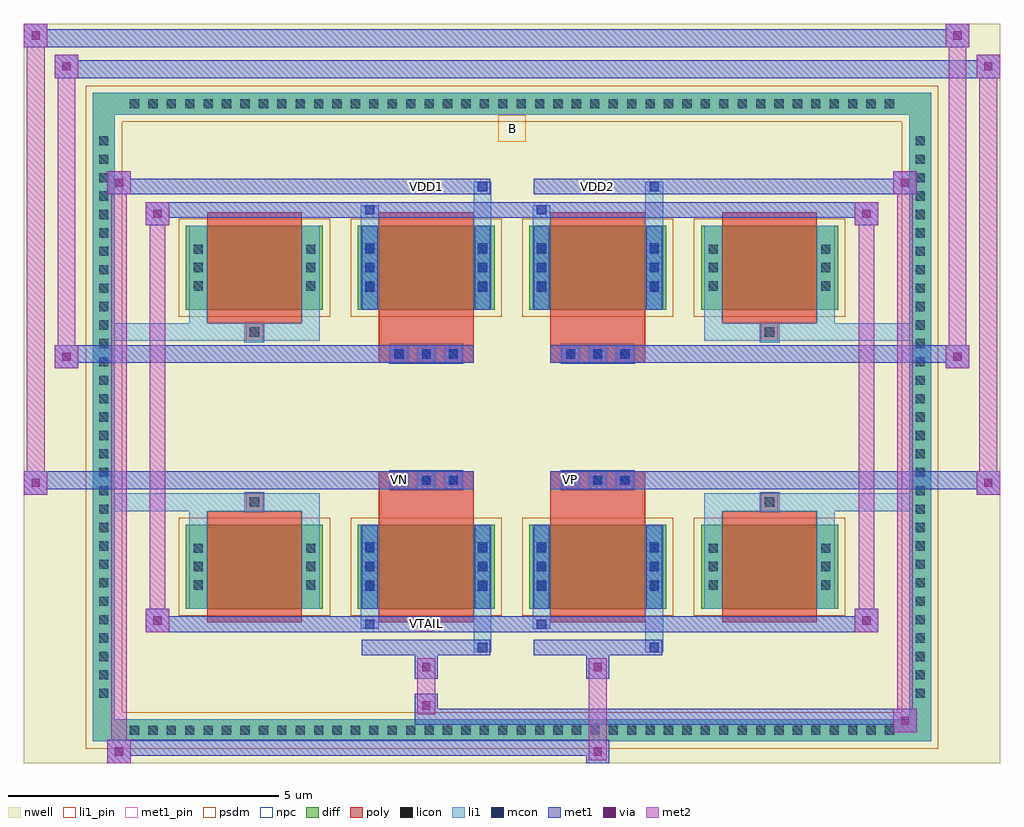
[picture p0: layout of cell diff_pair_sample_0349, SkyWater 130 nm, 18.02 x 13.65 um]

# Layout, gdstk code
import gdstk
lib = gdstk.Library(unit=1e-6, precision=5e-09)
def R(c, l, rs):  # rectangles x0, y0, x1, y1
    for r in rs: c.add(gdstk.rectangle(r[:2], r[2:], *l))
def A(c, l, x, y, w, h, nx, ny, dx, dy):  # array of equal rectangles
    R(c, l, [(x+i*dx, y+j*dy, x+i*dx+w, y+j*dy+h) for i in range(nx) for j in range(ny)])
def P(c, l, *ps):  # polygons
    for p in ps: c.add(gdstk.Polygon(p, *l))
nwell = (64, 20)
diff = (65, 20)
poly = (66, 20)
licon = (66, 44)
li1_pin = (67, 16)
li1 = (67, 20)
mcon = (67, 44)
met1_pin = (68, 16)
met1 = (68, 20)
via = (68, 44)
met2 = (69, 20)
psdm = (94, 20)
npc = (95, 20)

diff_pair_sample_0349 = lib.new_cell('diff_pair_sample_0349')
R(diff_pair_sample_0349, nwell, [(-9.01,-6.39,9.01,7.26), (-6.33,-4.58,-0.01,-0.8), (0.01,-4.58,6.33,-0.8), (-6.33,0.8,-0.01,4.58), (0.01,0.8,6.33,4.58)])
A(diff_pair_sample_0349, diff, -7.175, -5.99, 0.41, 0.41, 42, 2, 0.34, 11.57)
A(diff_pair_sample_0349, diff, -7.74, -5.305, 0.41, 0.41, 1, 31, 0, 0.34)
A(diff_pair_sample_0349, diff, 7.33, -5.305, 0.41, 0.41, 1, 31, 0, 0.34)
A(diff_pair_sample_0349, diff, -6.02, -3.535, 2.53, 1.55, 4, 2, 3.17, 5.52)
R(diff_pair_sample_0349, diff, [(-7.175,-5.99,7.175,-5.58), (-7.74,-5.305,-7.33,5.305), (7.33,-5.305,7.74,5.305), (-7.175,5.58,7.175,5.99)])
P(diff_pair_sample_0349, diff, [(7.74,5.99),(-7.74,5.99),(-7.74,-5.58),(-7.33,-5.58),(-7.33,5.58),(7.33,5.58),(7.33,-5.58),(-7.33,-5.58),(-7.74,-5.58),(-7.74,-5.99),(7.74,-5.99)])
A(diff_pair_sample_0349, poly, -5.63, -3.785, 1.75, 2.05, 4, 2, 3.17, 5.52)
A(diff_pair_sample_0349, poly, -2.25, -1.33, 0.33, 0.33, 3, 2, 0.5, 2.33)
A(diff_pair_sample_0349, poly, 0.92, -1.33, 0.33, 0.33, 3, 2, 0.5, 2.33)
R(diff_pair_sample_0349, poly, [(-4.92,-1.735,-4.59,-1.405), (-4.92,-1.735,-4.59,-1.405), (-2.46,-1.735,-0.71,-1.33), (0.71,-1.735,2.46,-1.33), (4.59,-1.735,4.92,-1.405), (4.59,-1.735,4.92,-1.405), (-2.46,-1.33,-0.71,-1), (0.71,-1.33,2.46,-1), (-2.46,1,-0.71,1.33), (0.71,1,2.46,1.33), (-2.46,1.33,-0.71,1.735), (0.71,1.33,2.46,1.735), (-4.92,1.405,-4.59,1.735), (-4.92,1.405,-4.59,1.735), (4.59,1.405,4.92,1.735), (4.59,1.405,4.92,1.735)])
A(diff_pair_sample_0349, licon, -7.055, -5.87, 0.17, 0.17, 42, 2, 0.34, 11.57)
A(diff_pair_sample_0349, licon, -7.62, -5.185, 0.17, 0.17, 1, 31, 0, 0.34)
A(diff_pair_sample_0349, licon, 7.45, -5.185, 0.17, 0.17, 1, 31, 0, 0.34)
A(diff_pair_sample_0349, licon, -5.88, -3.185, 0.17, 0.17, 1, 3, 0, 0.34)
A(diff_pair_sample_0349, licon, -3.8, -3.185, 0.17, 0.17, 1, 3, 0, 0.34)
A(diff_pair_sample_0349, licon, -2.71, -3.185, 0.17, 0.17, 1, 3, 0, 0.34)
A(diff_pair_sample_0349, licon, -0.63, -3.185, 0.17, 0.17, 1, 3, 0, 0.34)
A(diff_pair_sample_0349, licon, 0.46, -3.185, 0.17, 0.17, 1, 3, 0, 0.34)
A(diff_pair_sample_0349, licon, 2.54, -3.185, 0.17, 0.17, 1, 3, 0, 0.34)
A(diff_pair_sample_0349, licon, 3.63, -3.185, 0.17, 0.17, 1, 3, 0, 0.34)
A(diff_pair_sample_0349, licon, 5.71, -3.185, 0.17, 0.17, 1, 3, 0, 0.34)
A(diff_pair_sample_0349, licon, -2.17, -1.25, 0.17, 0.17, 3, 2, 0.5, 2.33)
A(diff_pair_sample_0349, licon, 1, -1.25, 0.17, 0.17, 3, 2, 0.5, 2.33)
A(diff_pair_sample_0349, licon, -5.88, 2.335, 0.17, 0.17, 1, 3, 0, 0.34)
A(diff_pair_sample_0349, licon, -3.8, 2.335, 0.17, 0.17, 1, 3, 0, 0.34)
A(diff_pair_sample_0349, licon, -2.71, 2.335, 0.17, 0.17, 1, 3, 0, 0.34)
A(diff_pair_sample_0349, licon, -0.63, 2.335, 0.17, 0.17, 1, 3, 0, 0.34)
A(diff_pair_sample_0349, licon, 0.46, 2.335, 0.17, 0.17, 1, 3, 0, 0.34)
A(diff_pair_sample_0349, licon, 2.54, 2.335, 0.17, 0.17, 1, 3, 0, 0.34)
A(diff_pair_sample_0349, licon, 3.63, 2.335, 0.17, 0.17, 1, 3, 0, 0.34)
A(diff_pair_sample_0349, licon, 5.71, 2.335, 0.17, 0.17, 1, 3, 0, 0.34)
R(diff_pair_sample_0349, licon, [(-4.84,-1.655,-4.67,-1.485), (4.67,-1.655,4.84,-1.485), (-4.84,1.485,-4.67,1.655), (4.67,1.485,4.84,1.655)])
R(diff_pair_sample_0349, li1_pin, [(-0.25,5.08,0.25,5.58)])
A(diff_pair_sample_0349, li1, -7.135, -5.95, 0.33, 0.33, 42, 2, 0.34, 11.57)
A(diff_pair_sample_0349, li1, -7.7, -5.265, 0.33, 0.33, 1, 31, 0, 0.34)
A(diff_pair_sample_0349, li1, 7.37, -5.265, 0.33, 0.33, 1, 31, 0, 0.34)
A(diff_pair_sample_0349, li1, -5.96, -3.265, 0.33, 0.33, 1, 3, 0, 0.34)
A(diff_pair_sample_0349, li1, -3.88, -3.265, 0.33, 0.33, 1, 3, 0, 0.34)
A(diff_pair_sample_0349, li1, -2.79, -3.265, 0.33, 0.33, 1, 3, 0, 0.34)
A(diff_pair_sample_0349, li1, -0.71, -3.265, 0.33, 0.33, 1, 3, 0, 0.34)
A(diff_pair_sample_0349, li1, 0.38, -3.265, 0.33, 0.33, 1, 3, 0, 0.34)
A(diff_pair_sample_0349, li1, 2.46, -3.265, 0.33, 0.33, 1, 3, 0, 0.34)
A(diff_pair_sample_0349, li1, 3.55, -3.265, 0.33, 0.33, 1, 3, 0, 0.34)
A(diff_pair_sample_0349, li1, 5.63, -3.265, 0.33, 0.33, 1, 3, 0, 0.34)
A(diff_pair_sample_0349, li1, -2.71, -3.205, 0.17, 0.17, 1, 3, 0, 0.36)
A(diff_pair_sample_0349, li1, -0.63, -3.205, 0.17, 0.17, 1, 3, 0, 0.36)
A(diff_pair_sample_0349, li1, 0.46, -3.205, 0.17, 0.17, 1, 3, 0, 0.36)
A(diff_pair_sample_0349, li1, 2.54, -3.205, 0.17, 0.17, 1, 3, 0, 0.36)
A(diff_pair_sample_0349, li1, -2.25, -1.33, 0.33, 0.33, 3, 2, 0.5, 2.33)
A(diff_pair_sample_0349, li1, 0.92, -1.33, 0.33, 0.33, 3, 2, 0.5, 2.33)
A(diff_pair_sample_0349, li1, -5.96, 2.255, 0.33, 0.33, 1, 3, 0, 0.34)
A(diff_pair_sample_0349, li1, -3.88, 2.255, 0.33, 0.33, 1, 3, 0, 0.34)
A(diff_pair_sample_0349, li1, -2.79, 2.255, 0.33, 0.33, 1, 3, 0, 0.34)
A(diff_pair_sample_0349, li1, -0.71, 2.255, 0.33, 0.33, 1, 3, 0, 0.34)
A(diff_pair_sample_0349, li1, 0.38, 2.255, 0.33, 0.33, 1, 3, 0, 0.34)
A(diff_pair_sample_0349, li1, 2.46, 2.255, 0.33, 0.33, 1, 3, 0, 0.34)
A(diff_pair_sample_0349, li1, 3.55, 2.255, 0.33, 0.33, 1, 3, 0, 0.34)
A(diff_pair_sample_0349, li1, 5.63, 2.255, 0.33, 0.33, 1, 3, 0, 0.34)
A(diff_pair_sample_0349, li1, -2.71, 2.315, 0.17, 0.17, 1, 3, 0, 0.36)
A(diff_pair_sample_0349, li1, -0.63, 2.315, 0.17, 0.17, 1, 3, 0, 0.36)
A(diff_pair_sample_0349, li1, 0.46, 2.315, 0.17, 0.17, 1, 3, 0, 0.36)
A(diff_pair_sample_0349, li1, 2.54, 2.315, 0.17, 0.17, 1, 3, 0, 0.36)
R(diff_pair_sample_0349, li1, [(-7.74,-5.99,-7.33,-5.58), (-7.74,-5.99,-7.33,-5.58), (-7.33,-5.99,7.33,-5.58), (7.33,-5.99,7.74,-5.58), (7.33,-5.99,7.74,-5.58), (-7.74,-5.58,-7.33,5.58), (7.33,-5.58,7.74,5.58), (-0.71,-4.34,-0.38,-3.535), (-0.63,-4.34,-0.46,-4.17), (2.46,-4.34,2.79,-3.535), (2.54,-4.34,2.71,-4.17), (-2.79,-3.91,-2.46,-3.535), (-2.71,-3.91,-2.54,-3.74), (0.38,-3.91,0.71,-3.535), (0.46,-3.91,0.63,-3.74), (-5.96,-3.535,-5.63,-1.985), (-3.88,-3.535,-3.55,-1.985), (-2.79,-3.535,-2.46,-1.985), (-0.71,-3.535,-0.38,-1.985), (0.38,-3.535,0.71,-1.985), (2.46,-3.535,2.79,-1.985), (3.55,-3.535,3.88,-1.985), (5.63,-3.535,5.96,-1.985), (-2.71,-3.205,-2.54,-2.315), (-0.63,-3.205,-0.46,-2.315), (0.46,-3.205,0.63,-2.315), (2.54,-3.205,2.71,-2.315), (-5.96,-1.985,-5.63,-1.405), (-3.88,-1.985,-3.55,-1.405), (3.55,-1.985,3.88,-1.405), (5.63,-1.985,5.96,-1.405), (-7.74,-1.735,-4.92,-1.405), (-5.96,-1.735,-4.92,-1.405), (-4.92,-1.735,-4.59,-1.405), (-4.59,-1.735,-3.55,-1.405), (3.55,-1.735,4.59,-1.405), (4.59,-1.735,4.92,-1.405), (4.59,-1.735,7.74,-1.405), (4.92,-1.735,5.96,-1.405), (-7.74,1.405,-4.92,1.735), (-5.96,1.405,-4.92,1.735), (-5.96,1.405,-5.63,1.985), (-4.92,1.405,-4.59,1.735), (-4.59,1.405,-3.55,1.735), (-3.88,1.405,-3.55,1.985), (3.55,1.405,4.59,1.735), (3.55,1.405,3.88,1.985), (4.59,1.405,4.92,1.735), (4.59,1.405,7.74,1.735), (4.92,1.405,5.96,1.735), (5.63,1.405,5.96,1.985), (-5.96,1.985,-5.63,3.535), (-3.88,1.985,-3.55,3.535), (-2.79,1.985,-2.46,3.535), (-0.71,1.985,-0.38,3.535), (0.38,1.985,0.71,3.535), (2.46,1.985,2.79,3.535), (3.55,1.985,3.88,3.535), (5.63,1.985,5.96,3.535), (-2.71,2.315,-2.54,3.205), (-0.63,2.315,-0.46,3.205), (0.46,2.315,0.63,3.205), (2.54,2.315,2.71,3.205), (-2.79,3.535,-2.46,3.91), (-0.71,3.535,-0.38,4.34), (0.38,3.535,0.71,3.91), (2.46,3.535,2.79,4.34), (-2.71,3.74,-2.54,3.91), (0.46,3.74,0.63,3.91), (-0.63,4.17,-0.46,4.34), (2.54,4.17,2.71,4.34), (-7.74,5.58,-7.33,5.99), (-7.74,5.58,-7.33,5.99), (-7.33,5.58,7.33,5.99), (7.33,5.58,7.74,5.99), (7.33,5.58,7.74,5.99)])
A(diff_pair_sample_0349, mcon, -2.71, -3.205, 0.17, 0.17, 1, 3, 0, 0.36)
A(diff_pair_sample_0349, mcon, -0.63, -3.205, 0.17, 0.17, 1, 3, 0, 0.36)
A(diff_pair_sample_0349, mcon, 0.46, -3.205, 0.17, 0.17, 1, 3, 0, 0.36)
A(diff_pair_sample_0349, mcon, 2.54, -3.205, 0.17, 0.17, 1, 3, 0, 0.36)
A(diff_pair_sample_0349, mcon, -2.17, -1.25, 0.17, 0.17, 3, 2, 0.5, 2.33)
A(diff_pair_sample_0349, mcon, 1, -1.25, 0.17, 0.17, 3, 2, 0.5, 2.33)
A(diff_pair_sample_0349, mcon, -2.71, 2.315, 0.17, 0.17, 1, 3, 0, 0.36)
A(diff_pair_sample_0349, mcon, -0.63, 2.315, 0.17, 0.17, 1, 3, 0, 0.36)
A(diff_pair_sample_0349, mcon, 0.46, 2.315, 0.17, 0.17, 1, 3, 0, 0.36)
A(diff_pair_sample_0349, mcon, 2.54, 2.315, 0.17, 0.17, 1, 3, 0, 0.36)
R(diff_pair_sample_0349, mcon, [(-0.63,-4.34,-0.46,-4.17), (2.54,-4.34,2.71,-4.17), (-2.71,-3.91,-2.54,-3.74), (0.46,-3.91,0.63,-3.74), (-2.71,3.74,-2.54,3.91), (0.46,3.74,0.63,3.91), (-0.63,4.17,-0.46,4.34), (2.54,4.17,2.71,4.34)])
R(diff_pair_sample_0349, met1_pin, [(-1.72,-3.95,-1.45,-3.68), (-2.22,-1.29,-1.95,-1.02), (0.95,-1.29,1.22,-1.02), (-1.72,4.13,-1.45,4.4), (1.45,4.13,1.72,4.4)])
A(diff_pair_sample_0349, met1, -2.77, -3.265, 0.29, 0.29, 1, 3, 0, 0.36)
A(diff_pair_sample_0349, met1, -0.69, -3.265, 0.29, 0.29, 1, 3, 0, 0.36)
A(diff_pair_sample_0349, met1, 0.4, -3.265, 0.29, 0.29, 1, 3, 0, 0.36)
A(diff_pair_sample_0349, met1, 2.48, -3.265, 0.29, 0.29, 1, 3, 0, 0.36)
A(diff_pair_sample_0349, met1, -2.23, -1.31, 0.29, 0.29, 3, 2, 0.5, 2.33)
A(diff_pair_sample_0349, met1, 0.94, -1.31, 0.29, 0.29, 3, 2, 0.5, 2.33)
A(diff_pair_sample_0349, met1, -2.77, 2.255, 0.29, 0.29, 1, 3, 0, 0.36)
A(diff_pair_sample_0349, met1, -0.69, 2.255, 0.29, 0.29, 1, 3, 0, 0.36)
A(diff_pair_sample_0349, met1, 0.4, 2.255, 0.29, 0.29, 1, 3, 0, 0.36)
A(diff_pair_sample_0349, met1, 2.48, 2.255, 0.29, 0.29, 1, 3, 0, 0.36)
R(diff_pair_sample_0349, met1, [(-7.47,-6.39,-7.04,-5.96), (1.37,-6.39,1.8,-5.96), (-7.47,-6.25,1.8,-5.96), (7.04,-5.82,7.47,-5.39), (-1.8,-5.68,7.47,-5.39), (-1.8,-5.54,-1.37,-5.11), (-1.8,-4.83,-1.37,-4.4), (1.37,-4.83,1.8,-4.4), (-2.77,-4.4,-0.4,-4.11), (-0.69,-4.4,-0.4,-4.11), (0.4,-4.4,2.77,-4.11), (2.48,-4.4,2.77,-4.11), (-6.76,-3.97,-6.33,-3.54), (-6.76,-3.97,-2.77,-3.68), (-2.77,-3.97,-2.48,-3.68), (-2.77,-3.97,-0.4,-3.68), (-0.4,-3.97,0.4,-3.68), (0.4,-3.97,0.69,-3.68), (0.4,-3.97,2.77,-3.68), (2.77,-3.97,6.76,-3.68), (6.33,-3.97,6.76,-3.54), (-2.77,-3.535,-2.48,-1.985), (-0.69,-3.535,-0.4,-1.985), (0.4,-3.535,0.69,-1.985), (2.48,-3.535,2.77,-1.985), (-9.01,-1.43,-8.58,-1), (8.58,-1.43,9.01,-1), (-9.01,-1.33,-0.71,-1), (-2.46,-1.33,-0.71,-1), (0.71,-1.33,2.46,-1), (0.71,-1.33,9.01,-1), (-8.44,0.9,-8.01,1.33), (8.01,0.9,8.44,1.33), (-8.44,1,-2.46,1.33), (-2.46,1,-0.71,1.33), (0.71,1,2.46,1.33), (2.46,1,8.44,1.33), (-2.77,1.985,-2.48,3.535), (-0.69,1.985,-0.4,3.535), (0.4,1.985,0.69,3.535), (2.48,1.985,2.77,3.535), (-6.76,3.54,-6.33,3.97), (6.33,3.54,6.76,3.97), (-6.76,3.68,-2.77,3.97), (-2.77,3.68,-2.48,3.97), (-2.77,3.68,-0.4,3.97), (-0.4,3.68,0.4,3.97), (0.4,3.68,0.69,3.97), (0.4,3.68,2.77,3.97), (2.77,3.68,6.76,3.97), (-7.47,4.11,-7.04,4.54), (-7.47,4.11,-2.77,4.4), (-2.77,4.11,-0.4,4.4), (-0.69,4.11,-0.4,4.4), (0.4,4.11,2.77,4.4), (2.48,4.11,2.77,4.4), (2.77,4.11,7.47,4.4), (7.04,4.11,7.47,4.54), (-8.44,6.26,-8.01,6.69), (-8.44,6.26,-6.33,6.59), (-6.33,6.26,6.33,6.59), (6.33,6.26,9.01,6.59), (8.58,6.26,9.01,6.69), (-9.01,6.83,-8.58,7.26), (-9.01,6.83,-6.33,7.16), (-6.33,6.83,6.33,7.16), (6.33,6.83,8.44,7.16), (8.01,6.83,8.44,7.26)])
R(diff_pair_sample_0349, via, [(-7.33,-6.25,-7.18,-6.1), (1.51,-6.25,1.66,-6.1), (7.18,-5.68,7.33,-5.53), (-1.66,-5.4,-1.51,-5.25), (-1.66,-4.69,-1.51,-4.54), (1.51,-4.69,1.66,-4.54), (-6.62,-3.83,-6.47,-3.68), (6.47,-3.83,6.62,-3.68), (-8.87,-1.29,-8.72,-1.14), (8.72,-1.29,8.87,-1.14), (-8.3,1.04,-8.15,1.19), (8.15,1.04,8.3,1.19), (-6.62,3.68,-6.47,3.83), (6.47,3.68,6.62,3.83), (-7.33,4.25,-7.18,4.4), (7.18,4.25,7.33,4.4), (-8.3,6.4,-8.15,6.55), (8.72,6.4,8.87,6.55), (-8.87,6.97,-8.72,7.12), (8.15,6.97,8.3,7.12)])
R(diff_pair_sample_0349, met2, [(-7.47,-6.39,-7.04,-5.96), (-7.4,-6.39,-7.11,4.54), (-7.11,-6.39,-7.04,-5.96), (-7.42,-6.34,-7.09,-6.01), (1.42,-6.34,1.75,-6.01), (1.42,-6.01,1.75,-4.78), (7.04,-5.82,7.47,-5.39), (7.11,-5.82,7.4,4.54), (7.4,-5.82,7.47,-5.39), (7.09,-5.77,7.42,-5.44), (-1.75,-5.49,-1.42,-5.16), (-1.75,-5.16,-1.42,-4.78), (-1.75,-4.78,-1.42,-4.45), (1.42,-4.78,1.75,-4.45), (-6.76,-3.97,-6.33,-3.54), (-6.69,-3.97,-6.4,3.97), (-6.4,-3.97,-6.33,-3.54), (6.33,-3.97,6.76,-3.54), (6.4,-3.97,6.69,3.97), (6.69,-3.97,6.76,-3.54), (-6.71,-3.92,-6.38,-3.59), (6.38,-3.92,6.71,-3.59), (-9.01,-1.43,-8.58,-1), (-8.96,-1.43,-8.63,7.26), (-8.63,-1.43,-8.58,-1), (8.58,-1.43,9.01,-1), (8.63,-1.43,8.96,6.69), (8.96,-1.43,9.01,-1), (-8.96,-1.38,-8.63,-1.05), (8.63,-1.38,8.96,-1.05), (-8.44,0.9,-8.01,1.33), (-8.39,0.9,-8.06,6.69), (-8.06,0.9,-8.01,1.33), (8.01,0.9,8.44,1.33), (8.06,0.9,8.39,7.26), (8.39,0.9,8.44,1.33), (-8.39,0.95,-8.06,1.28), (8.06,0.95,8.39,1.28), (-6.76,3.54,-6.33,3.97), (-6.4,3.54,-6.33,3.97), (6.33,3.54,6.76,3.97), (6.69,3.54,6.76,3.97), (-6.71,3.59,-6.38,3.92), (6.38,3.59,6.71,3.92), (-7.47,4.11,-7.04,4.54), (-7.11,4.11,-7.04,4.54), (7.04,4.11,7.47,4.54), (7.4,4.11,7.47,4.54), (-7.42,4.16,-7.09,4.49), (7.09,4.16,7.42,4.49), (-8.44,6.26,-8.01,6.69), (-8.06,6.26,-8.01,6.69), (8.58,6.26,9.01,6.69), (8.96,6.26,9.01,6.69), (-8.39,6.31,-8.06,6.64), (8.63,6.31,8.96,6.64), (-9.01,6.83,-8.58,7.26), (-8.63,6.83,-8.58,7.26), (8.01,6.83,8.44,7.26), (8.39,6.83,8.44,7.26), (-8.96,6.88,-8.63,7.21), (8.06,6.88,8.39,7.21)])
A(diff_pair_sample_0349, psdm, -6.15, -3.665, 2.79, 1.81, 4, 2, 3.17, 5.52)
P(diff_pair_sample_0349, psdm, [(7.87,6.12),(-7.87,6.12),(-7.87,-5.45),(-7.2,-5.45),(-7.2,5.45),(7.2,5.45),(7.2,-5.45),(-7.2,-5.45),(-7.87,-5.45),(-7.87,-6.12),(7.87,-6.12)])
A(diff_pair_sample_0349, npc, -2.27, -1.35, 0.37, 0.37, 3, 2, 0.5, 2.33)
A(diff_pair_sample_0349, npc, 0.9, -1.35, 0.37, 0.37, 3, 2, 0.5, 2.33)
R(diff_pair_sample_0349, npc, [(-4.94,-1.755,-4.57,-1.385), (4.57,-1.755,4.94,-1.385), (-2.27,-1.35,-1.4,-0.98), (-2.27,-1.35,-1.4,-0.98), (-1.77,-1.35,-0.9,-0.98), (-1.77,-1.35,-0.9,-0.98), (0.9,-1.35,1.77,-0.98), (0.9,-1.35,1.77,-0.98), (1.4,-1.35,2.27,-0.98), (1.4,-1.35,2.27,-0.98), (-2.27,0.98,-1.4,1.35), (-2.27,0.98,-1.4,1.35), (-1.77,0.98,-0.9,1.35), (-1.77,0.98,-0.9,1.35), (0.9,0.98,1.77,1.35), (0.9,0.98,1.77,1.35), (1.4,0.98,2.27,1.35), (1.4,0.98,2.27,1.35), (-4.94,1.385,-4.57,1.755), (4.57,1.385,4.94,1.755)])
diff_pair_sample_0349.add(gdstk.Label('VTAIL', (-1.585,-3.815), layer=68, texttype=5))
diff_pair_sample_0349.add(gdstk.Label('VN', (-2.085,-1.155), layer=68, texttype=5))
diff_pair_sample_0349.add(gdstk.Label('VP', (1.085,-1.155), layer=68, texttype=5))
diff_pair_sample_0349.add(gdstk.Label('B', (0,5.33), layer=67, texttype=5))
diff_pair_sample_0349.add(gdstk.Label('VDD2', (1.585,4.265), layer=68, texttype=5))
diff_pair_sample_0349.add(gdstk.Label('VDD1', (-1.585,4.265), layer=68, texttype=5))

lib.write_gds('diff_pair_sample_0349.gds')
